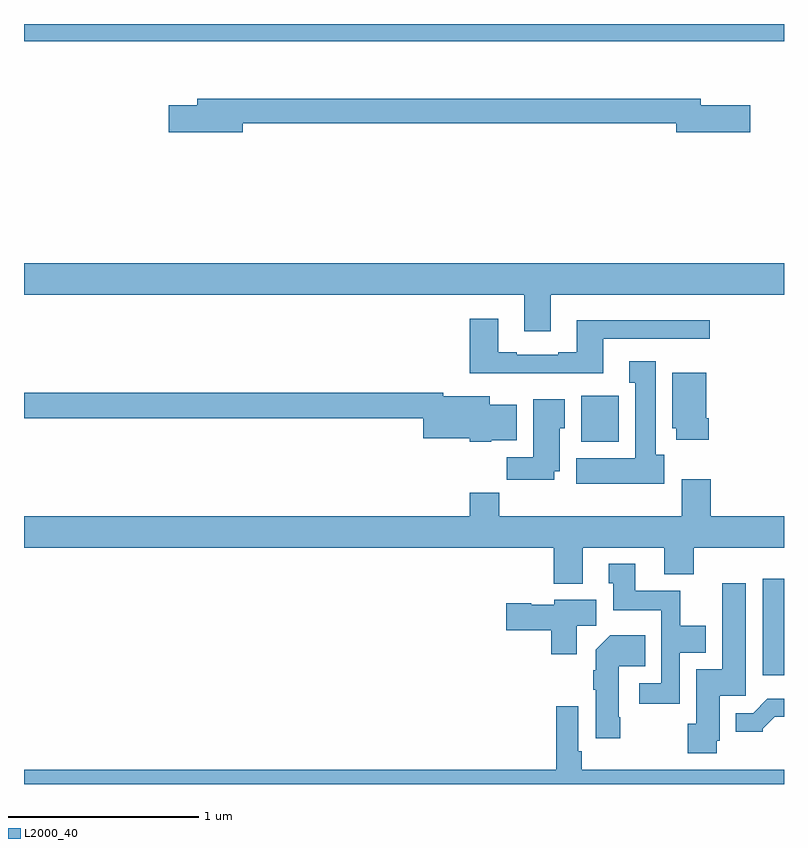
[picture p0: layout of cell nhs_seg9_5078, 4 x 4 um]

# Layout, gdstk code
import gdstk
lib = gdstk.Library(unit=1e-6, precision=1e-09)
def R(c, l, rs):  # rectangles x0, y0, x1, y1
    for r in rs: c.add(gdstk.rectangle(r[:2], r[2:], *l))
def P(c, l, *ps):  # polygons
    for p in ps: c.add(gdstk.Polygon(p, *l))
L2000_40 = (2000, 40)

nhs_seg9_5078 = lib.new_cell('nhs_seg9_5078')
R(nhs_seg9_5078, L2000_40, [(408.887,1205.073,409,1205.581), (407.933,1206.302,408.13,1206.544), (405,1208.408,409,1208.5)])
P(nhs_seg9_5078, L2000_40, [(406.15,1207.978),(408.434,1207.978),(408.434,1207.931),(408.823,1207.931),(408.823,1208.073),(408.562,1208.073),(408.562,1208.107),(405.911,1208.107),(405.911,1208.073),(405.762,1208.073),(405.762,1207.931),(406.15,1207.931)],
  [(407.773,1207.076),(409,1207.076),(409,1207.24),(405,1207.24),(405,1207.076),(407.633,1207.076),(407.633,1206.882),(407.773,1206.882)],
  [(408.049,1206.843),(408.61,1206.843),(408.61,1206.94),(407.909,1206.94),(407.909,1206.772),(407.813,1206.772),(407.813,1206.759),(407.593,1206.759),(407.593,1206.772),(407.497,1206.772),(407.497,1206.949),(407.345,1206.949),(407.345,1206.662),(408.049,1206.662)],
  [(408.37,1206.234),(408.325,1206.234),(408.325,1206.724),(408.185,1206.724),(408.185,1206.611),(408.218,1206.611),(408.218,1206.214),(407.906,1206.214),(407.906,1206.08),(408.37,1206.08)],
  [(408.605,1206.424),(408.592,1206.424),(408.592,1206.664),(408.413,1206.664),(408.413,1206.372),(408.434,1206.372),(408.434,1206.312),(408.605,1206.312)],
  [(407.46,1206.308),(407.593,1206.308),(407.593,1206.496),(407.452,1206.496),(407.452,1206.541),(407.206,1206.541),(407.206,1206.56),(405,1206.56),(405,1206.424),(407.102,1206.424),(407.102,1206.32),(407.346,1206.32),(407.346,1206.302),(407.46,1206.302)],
  [(407.791,1206.146),(407.821,1206.146),(407.821,1206.372),(407.845,1206.372),(407.845,1206.526),(407.681,1206.526),(407.681,1206.22),(407.542,1206.22),(407.542,1206.102),(407.791,1206.102)],
  [(407.941,1205.744),(408.371,1205.744),(408.371,1205.603),(408.524,1205.603),(408.524,1205.744),(409,1205.744),(409,1205.908),(408.614,1205.908),(408.614,1206.103),(408.461,1206.103),(408.461,1205.908),(407.501,1205.908),(407.501,1206.032),(407.345,1206.032),(407.345,1205.908),(405,1205.908),(405,1205.744),(407.789,1205.744),(407.789,1205.555),(407.941,1205.555)],
  [(408.45,1205.192),(408.589,1205.192),(408.589,1205.332),(408.453,1205.332),(408.453,1205.518),(408.217,1205.518),(408.217,1205.659),(408.077,1205.659),(408.077,1205.556),(408.101,1205.556),(408.101,1205.414),(408.354,1205.414),(408.354,1205.031),(408.237,1205.031),(408.237,1204.923),(408.45,1204.923)],
  [(408.645,1204.728),(408.661,1204.728),(408.661,1204.965),(408.799,1204.965),(408.799,1205.557),(408.674,1205.557),(408.674,1205.104),(408.539,1205.104),(408.539,1204.818),(408.493,1204.818),(408.493,1204.662),(408.645,1204.662)],
  [(407.908,1205.332),(408.013,1205.332),(408.013,1205.47),(407.79,1205.47),(407.79,1205.443),(407.67,1205.443),(407.67,1205.451),(407.538,1205.451),(407.538,1205.309),(407.774,1205.309),(407.774,1205.184),(407.908,1205.184)],
  [(408.138,1204.852),(408.13,1204.852),(408.13,1205.12),(408.269,1205.12),(408.269,1205.284),(408.086,1205.284),(408.008,1205.206),(408.008,1205.099),(407.996,1205.099),(407.996,1204.996),(408.008,1204.996),(408.008,1204.74),(408.138,1204.74)],
  [(408.888,1204.79),(408.952,1204.854),(409,1204.854),(409,1204.948),(408.913,1204.948),(408.837,1204.872),(408.746,1204.872),(408.746,1204.775),(408.888,1204.775)],
  [(405,1204.5),(409,1204.5),(409,1204.576),(407.936,1204.576),(407.936,1204.672),(407.916,1204.672),(407.916,1204.909),(407.8,1204.909),(407.8,1204.576),(405,1204.576)])

lib.write_gds('nhs_seg9_5078.gds')
